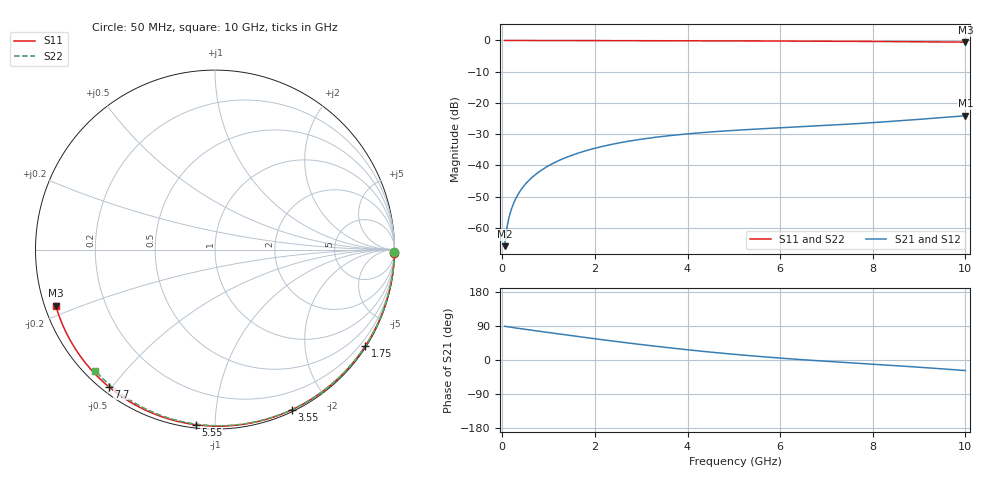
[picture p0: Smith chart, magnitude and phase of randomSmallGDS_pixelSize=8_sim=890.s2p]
! freq	dB(S11)	phase(S11)	dB(S12)	phase(S12)
!  dB(S21)	phase(S21)	dB(S22)	phase(S22)
!S-par simulation data
#  GHz  S  DB  R 50
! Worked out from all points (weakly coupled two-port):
!   200 points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, 50 MHz to 10 GHz, reference 50 ohm
!   highest |S21| = -24.10 dB at 10 GHz (marker M1); lowest = -65.8 dB at 50 MHz (marker M2)
!   lowest |S11| = -0.5 dB at 10 GHz (marker M3), VSWR 32.56, Z = 1.58 - j8.54 ohm
!   |S11| at or under -10 dB: nowhere
!   |S22| runs from -0.5 to 0.0 dB; largest |S21 - S12| = 0
!   S11 on the Smith chart (normalised r, x): 50 MHz: open; 1.75 GHz: 0.03, -3.41; 3.55 GHz: 0.02, -1.59; 5.55 GHz: 0.02, -0.90; 7.7 GHz: 0.02, -0.49; 10 GHz: 0.03, -0.17
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0.05  -0.00 -1.0  -65.84 89.0  -65.84 89.0  -0.00 -0.8
0.1  -0.00 -1.9  -59.82 88.0  -59.82 88.0  -0.00 -1.6
0.15  -0.00 -2.9  -56.31 87.1  -56.31 87.1  -0.00 -2.4
0.2  -0.00 -3.8  -53.83 86.1  -53.83 86.1  -0.00 -3.2
0.25  -0.00 -4.8  -51.91 85.2  -51.91 85.2  -0.00 -4.0
0.35  -0.00 -6.7  -49.02 83.4  -49.02 83.4  -0.00 -5.5
0.5  -0.01 -9.5  -45.97 80.9  -45.97 80.9  -0.01 -7.9
0.7  -0.01 -13.3  -43.10 77.5  -43.10 77.5  -0.01 -11.0
1  -0.02 -18.9  -40.09 72.5  -40.09 72.5  -0.02 -15.7
1.35  -0.03 -25.3  -37.61 66.7  -37.61 66.7  -0.03 -21.1
1.75  -0.04 -32.7  -35.53 60.1  -35.53 60.1  -0.04 -27.3
2.5  -0.06 -46.1  -32.85 48.2  -32.85 48.2  -0.05 -38.6
3.4  -0.08 -61.7  -30.82 35.0  -30.82 35.0  -0.07 -51.8
3.55  -0.09 -64.3  -30.56 32.9  -30.56 32.9  -0.08 -53.9
4.3  -0.11 -76.7  -29.51 23.2  -29.51 23.2  -0.10 -64.5
5.05  -0.14 -88.6  -28.74 14.5  -28.74 14.5  -0.12 -74.7
5.55  -0.16 -96.3  -28.31 9.3  -28.31 9.3  -0.14 -81.3
6.7  -0.22 -113.4  -27.43 -1.0  -27.43 -1.0  -0.19 -95.9
7.7  -0.29 -127.8  -26.58 -8.8  -26.58 -8.8  -0.25 -108.0
8.35  -0.35 -137.1  -25.95 -13.8  -25.95 -13.8  -0.30 -115.7
9.2  -0.44 -149.1  -25.02 -20.7  -25.02 -20.7  -0.37 -125.5
10  -0.53 -160.6  -24.10 -27.9  -24.10 -27.9  -0.46 -134.6
